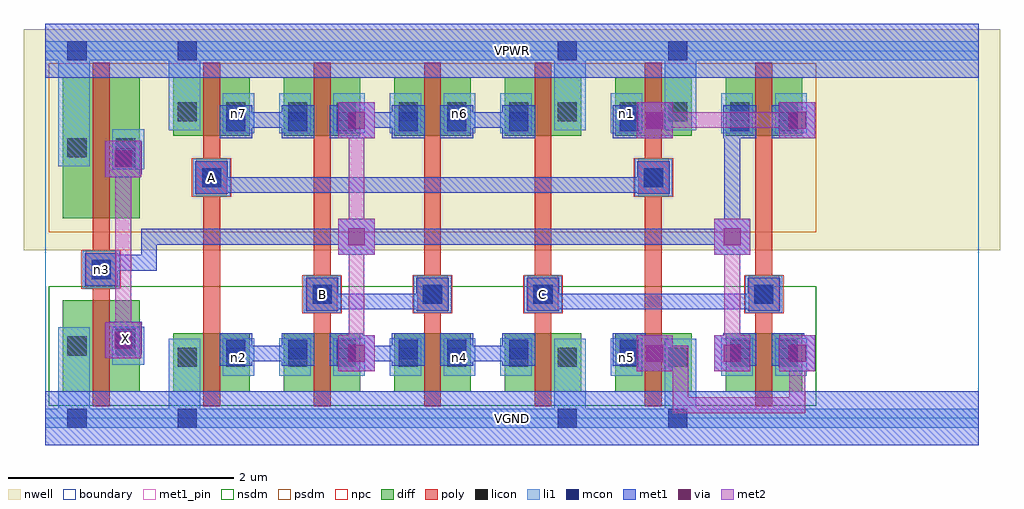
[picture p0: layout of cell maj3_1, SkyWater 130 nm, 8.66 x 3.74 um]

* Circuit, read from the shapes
.subckt maj3_1 A B C VGND VPWR X n1 n2 n3 n4 n5 n6 n7
XM1 X n3 VGND VSUBS sky130_fd_pr__nfet_01v8 w=0.81 l=0.15
XM2 n2 A VGND VSUBS sky130_fd_pr__nfet_01v8 w=0.52 l=0.15
XM3 n3 B n2 VSUBS sky130_fd_pr__nfet_01v8 w=0.52 l=0.15
XM4 n4 B n3 VSUBS sky130_fd_pr__nfet_01v8 w=0.52 l=0.15
XM5 VGND C n4 VSUBS sky130_fd_pr__nfet_01v8 w=0.52 l=0.15
XM6 VGND A n5 VSUBS sky130_fd_pr__nfet_01v8 w=0.52 l=0.15
XM7 n5 C n3 VSUBS sky130_fd_pr__nfet_01v8 w=0.52 l=0.15
XM8 X n3 VPWR n8 sky130_fd_pr__pfet_01v8 w=1.25 l=0.15
XM9 n7 A VPWR n8 sky130_fd_pr__pfet_01v8 w=0.52 l=0.15
XM10 n3 B n7 n8 sky130_fd_pr__pfet_01v8 w=0.52 l=0.15
XM11 n6 B n3 n8 sky130_fd_pr__pfet_01v8 w=0.52 l=0.15
XM12 VPWR C n6 n8 sky130_fd_pr__pfet_01v8 w=0.52 l=0.15
XM13 VPWR A n1 n8 sky130_fd_pr__pfet_01v8 w=0.52 l=0.15
XM14 n1 C n3 n8 sky130_fd_pr__pfet_01v8 w=0.52 l=0.15
.ends

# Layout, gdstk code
import gdstk
lib = gdstk.Library(unit=1e-6, precision=1e-09)
def R(c, l, rs):  # rectangles x0, y0, x1, y1
    for r in rs: c.add(gdstk.rectangle(r[:2], r[2:], *l))
def A(c, l, x, y, w, h, nx, ny, dx, dy):  # array of equal rectangles
    R(c, l, [(x+i*dx, y+j*dy, x+i*dx+w, y+j*dy+h) for i in range(nx) for j in range(ny)])
nwell = (64, 20)
diff = (65, 20)
poly = (66, 20)
licon = (66, 44)
li1 = (67, 20)
mcon = (67, 44)
met1_pin = (68, 16)
met1 = (68, 20)
via = (68, 44)
met2 = (69, 20)
nsdm = (93, 44)
psdm = (94, 20)
npc = (95, 20)
boundary = (235, 4)

maj3_1 = lib.new_cell('maj3_1')
R(maj3_1, nwell, [(-0.19,1.49,8.47,3.45), (0,1.49,8.28,3.45)])
A(maj3_1, diff, 1.135, 0.235, 0.68, 0.52, 6, 2, 0.98, 2.27)
R(maj3_1, diff, [(0.155,0.235,0.835,1.045), (0.155,1.775,0.835,3.025)])
A(maj3_1, poly, 0.42, 0.105, 0.15, 3.05, 7, 1, 0.98, 0)
A(maj3_1, poly, 2.32, 0.93, 0.27, 0.34, 3, 1, 0.98, 0)
R(maj3_1, poly, [(6.24,0.93,6.51,1.27), (0.36,1.15,0.63,1.49), (1.34,1.965,1.61,2.305), (5.26,1.965,5.53,2.305)])
A(maj3_1, licon, 2.37, 1.015, 0.17, 0.17, 3, 1, 0.98, 0)
R(maj3_1, licon, [(1.175,0.455,1.345,0.625), (1.605,0.455,1.775,0.625), (2.155,0.455,2.325,0.625), (2.585,0.455,2.755,0.625), (3.135,0.455,3.305,0.625), (3.565,0.455,3.735,0.625), (4.115,0.455,4.285,0.625), (4.545,0.455,4.715,0.625), (5.095,0.455,5.265,0.625), (5.525,0.455,5.695,0.625), (6.075,0.455,6.245,0.625), (6.505,0.455,6.675,0.625), (0.195,0.555,0.365,0.725), (0.625,0.555,0.795,0.725), (6.29,1.015,6.46,1.185), (0.41,1.235,0.58,1.405), (1.39,2.05,1.56,2.22), (5.31,2.05,5.48,2.22), (0.195,2.315,0.365,2.485), (0.625,2.315,0.795,2.485), (1.175,2.635,1.345,2.805), (1.605,2.635,1.775,2.805), (2.155,2.635,2.325,2.805), (2.585,2.635,2.755,2.805), (3.135,2.635,3.305,2.805), (3.565,2.635,3.735,2.805), (4.115,2.635,4.285,2.805), (4.545,2.635,4.715,2.805), (5.095,2.635,5.265,2.805), (5.525,2.635,5.695,2.805), (6.075,2.635,6.245,2.805), (6.505,2.635,6.675,2.805)])
A(maj3_1, li1, 4.035, 0.375, 0.28, 0.335, 3, 1, 0.98, 0)
A(maj3_1, li1, 2.29, 0.935, 0.33, 0.33, 3, 1, 0.98, 0)
A(maj3_1, li1, 4.035, 2.53, 0.28, 0.355, 3, 1, 0.98, 0)
R(maj3_1, li1, [(0,-0.085,8.28,0.085), (0.115,-0.085,0.395,0.805), (1.095,-0.085,1.375,0.705), (4.515,-0.085,4.795,0.705), (5.495,-0.085,5.775,0.705), (1.575,0.375,1.855,0.71), (2.075,0.375,2.355,0.71), (2.555,0.375,2.835,0.71), (3.055,0.375,3.335,0.71), (3.535,0.375,3.815,0.71), (6.475,0.375,6.755,0.71), (0.595,0.475,0.875,0.81), (6.21,0.935,6.54,1.265), (0.33,1.155,0.66,1.485), (1.31,1.97,1.64,2.3), (5.23,1.97,5.56,2.3), (0.595,2.21,0.875,2.565), (0.115,2.235,0.395,3.345), (1.575,2.53,1.855,2.885), (2.075,2.53,2.355,2.885), (2.555,2.53,2.835,2.885), (3.055,2.53,3.335,2.885), (3.535,2.53,3.815,2.885), (6.475,2.53,6.755,2.885), (1.095,2.555,1.375,3.345), (4.515,2.555,4.795,3.345), (5.495,2.555,5.775,3.345), (0,3.175,8.28,3.345)])
A(maj3_1, mcon, 4.115, 0.525, 0.17, 0.17, 3, 2, 0.98, 2.02)
A(maj3_1, mcon, 2.37, 1.015, 0.17, 0.17, 3, 1, 0.98, 0)
R(maj3_1, mcon, [(0.195,-0.085,0.365,0.085), (1.175,-0.085,1.345,0.085), (4.545,-0.085,4.715,0.085), (5.525,-0.085,5.695,0.085), (1.605,0.525,1.775,0.695), (2.155,0.525,2.325,0.695), (2.585,0.525,2.755,0.695), (3.135,0.525,3.305,0.695), (3.565,0.525,3.735,0.695), (6.505,0.525,6.675,0.695), (0.625,0.625,0.795,0.795), (6.29,1.015,6.46,1.185), (0.41,1.235,0.58,1.405), (1.39,2.05,1.56,2.22), (5.31,2.05,5.48,2.22), (0.625,2.225,0.795,2.395), (1.605,2.545,1.775,2.715), (2.155,2.545,2.325,2.715), (2.585,2.545,2.755,2.715), (3.135,2.545,3.305,2.715), (3.565,2.545,3.735,2.715), (6.505,2.545,6.675,2.715), (0.195,3.175,0.365,3.345), (1.175,3.175,1.345,3.345), (4.545,3.175,4.715,3.345), (5.525,3.175,5.695,3.345)])
R(maj3_1, met1_pin, [(0,-0.24,8.28,0.24), (0.565,0.565,0.855,0.855), (2.31,0.955,2.6,1.245), (4.27,0.955,4.56,1.245), (1.33,1.99,1.62,2.28), (0,3.02,8.28,3.5)])
A(maj3_1, met1, 2.6, 0.415, 0.32, 0.32, 1, 3, 0, 1.035)
A(maj3_1, met1, 4.055, 0.465, 0.29, 0.29, 3, 2, 0.98, 2.02)
A(maj3_1, met1, 1.655, 0.505, 0.14, 0.14, 3, 2, 0.46, 2.07)
A(maj3_1, met1, 3.15, 0.505, 0.14, 0.14, 3, 2, 0.46, 2.07)
A(maj3_1, met1, 2.31, 0.955, 0.29, 0.29, 3, 1, 0.98, 0)
R(maj3_1, met1, [(0,-0.24,8.28,0.24), (5.245,0.415,5.565,0.735), (5.935,0.415,6.255,0.735), (6.51,0.415,6.83,0.735), (1.545,0.465,1.835,0.755), (2.095,0.465,2.385,0.755), (2.525,0.465,2.815,0.755), (3.075,0.465,3.365,0.755), (3.505,0.465,3.795,0.755), (6.445,0.465,6.735,0.755), (1.655,0.505,2.255,0.645), (2.575,0.505,3.29,0.645), (3.61,0.505,4.21,0.645), (5.105,0.505,5.245,0.645), (5.105,0.505,5.475,0.645), (6.025,0.505,6.165,0.645), (6.485,0.505,6.625,0.645), (6.485,0.505,6.74,0.645), (0.53,0.53,0.85,0.85), (0.565,0.565,0.855,0.855), (0.62,0.62,0.76,0.76), (6.23,0.955,6.52,1.245), (2.46,0.965,2.6,1.105), (2.46,0.965,3.52,1.105), (3.38,0.965,3.52,1.105), (4.415,0.965,4.555,1.105), (4.415,0.965,6.395,1.105), (6.255,0.965,6.395,1.105), (0.35,1.175,0.64,1.465), (0.39,1.31,0.53,1.45), (0.39,1.31,0.99,1.45), (0.85,1.31,0.99,1.68), (5.935,1.45,6.255,1.77), (0.85,1.54,2.83,1.68), (2.69,1.54,6.165,1.68), (6.025,1.54,6.165,2.715), (1.33,1.99,1.62,2.28), (5.25,1.99,5.54,2.28), (1.425,2,1.565,2.14), (1.425,2,5.475,2.14), (5.335,2,5.475,2.14), (0.53,2.14,0.85,2.46), (0.565,2.165,0.855,2.455), (0.62,2.23,0.76,2.37), (1.545,2.485,1.835,2.775), (2.095,2.485,2.385,2.775), (2.525,2.485,2.815,2.775), (3.075,2.485,3.365,2.775), (3.505,2.485,3.795,2.775), (5.245,2.485,5.565,2.805), (6.445,2.485,6.735,2.775), (6.51,2.485,6.83,2.805), (1.655,2.575,2.255,2.715), (2.575,2.575,2.83,2.715), (2.69,2.575,3.29,2.715), (3.61,2.575,4.21,2.715), (5.105,2.575,5.245,2.715), (5.105,2.575,5.475,2.715), (6.025,2.575,6.165,2.715), (6.485,2.575,6.625,2.715), (6.485,2.575,6.74,2.715), (0,3.02,8.28,3.5)])
A(maj3_1, via, 2.685, 0.5, 0.15, 0.15, 1, 3, 0, 1.035)
R(maj3_1, via, [(5.33,0.5,5.48,0.65), (6.02,0.5,6.17,0.65), (6.595,0.5,6.745,0.65), (0.615,0.615,0.765,0.765), (6.02,1.535,6.17,1.685), (0.615,2.225,0.765,2.375), (5.33,2.57,5.48,2.72), (6.595,2.57,6.745,2.72)])
A(maj3_1, met2, 2.6, 0.415, 0.32, 0.32, 1, 3, 0, 1.035)
R(maj3_1, met2, [(5.565,0.045,5.705,0.645), (5.565,0.045,6.74,0.185), (6.6,0.045,6.74,0.645), (5.245,0.415,5.565,0.735), (5.935,0.415,6.255,0.735), (6.51,0.415,6.83,0.735), (2.69,0.505,2.83,2.715), (5.335,0.505,5.705,0.645), (6.025,0.505,6.165,1.68), (0.53,0.53,0.85,0.85), (0.62,0.62,0.76,2.37), (5.935,1.45,6.255,1.77), (0.53,2.14,0.85,2.46), (5.245,2.485,5.565,2.805), (6.51,2.485,6.83,2.805), (5.335,2.575,6.74,2.715)])
R(maj3_1, nsdm, [(0.03,0.11,6.84,1.17)])
R(maj3_1, psdm, [(0.03,1.65,6.84,3.15)])
A(maj3_1, npc, 2.28, 0.93, 0.35, 0.34, 3, 1, 0.98, 0)
R(maj3_1, npc, [(6.2,0.93,6.55,1.27), (0.32,1.15,0.67,1.49), (1.3,1.965,1.65,2.305), (5.22,1.965,5.57,2.305)])
R(maj3_1, boundary, [(0,0,8.28,3.26)])
maj3_1.add(gdstk.Label('n3', (0.495,1.32), layer=67, texttype=5))
maj3_1.add(gdstk.Label('n2', (1.715,0.542), layer=67, texttype=5))
maj3_1.add(gdstk.Label('n7', (1.715,2.707), layer=67, texttype=5))
maj3_1.add(gdstk.Label('n4', (3.675,0.542), layer=67, texttype=5))
maj3_1.add(gdstk.Label('n6', (3.675,2.707), layer=67, texttype=5))
maj3_1.add(gdstk.Label('n5', (5.155,0.542), layer=67, texttype=5))
maj3_1.add(gdstk.Label('n1', (5.155,2.707), layer=67, texttype=5))
maj3_1.add(gdstk.Label('A', (1.475,2.135), layer=68, texttype=5))
maj3_1.add(gdstk.Label('B', (2.455,1.1), layer=68, texttype=5))
maj3_1.add(gdstk.Label('C', (4.415,1.1), layer=68, texttype=5))
maj3_1.add(gdstk.Label('X', (0.71,0.71), layer=68, texttype=5))
maj3_1.add(gdstk.Label('VPWR', (4.14,3.26), layer=68, texttype=5))
maj3_1.add(gdstk.Label('VGND', (4.14,0), layer=68, texttype=5))
maj3_1.add(gdstk.Label('A', (1.475,2.135), layer=68, texttype=16))
maj3_1.add(gdstk.Label('B', (2.455,1.1), layer=68, texttype=16))
maj3_1.add(gdstk.Label('C', (4.415,1.1), layer=68, texttype=16))
maj3_1.add(gdstk.Label('X', (0.71,0.71), layer=68, texttype=16))
maj3_1.add(gdstk.Label('VPWR', (4.14,3.26), layer=68, texttype=16))
maj3_1.add(gdstk.Label('VGND', (4.14,0), layer=68, texttype=16))

lib.write_gds('maj3_1.gds')
